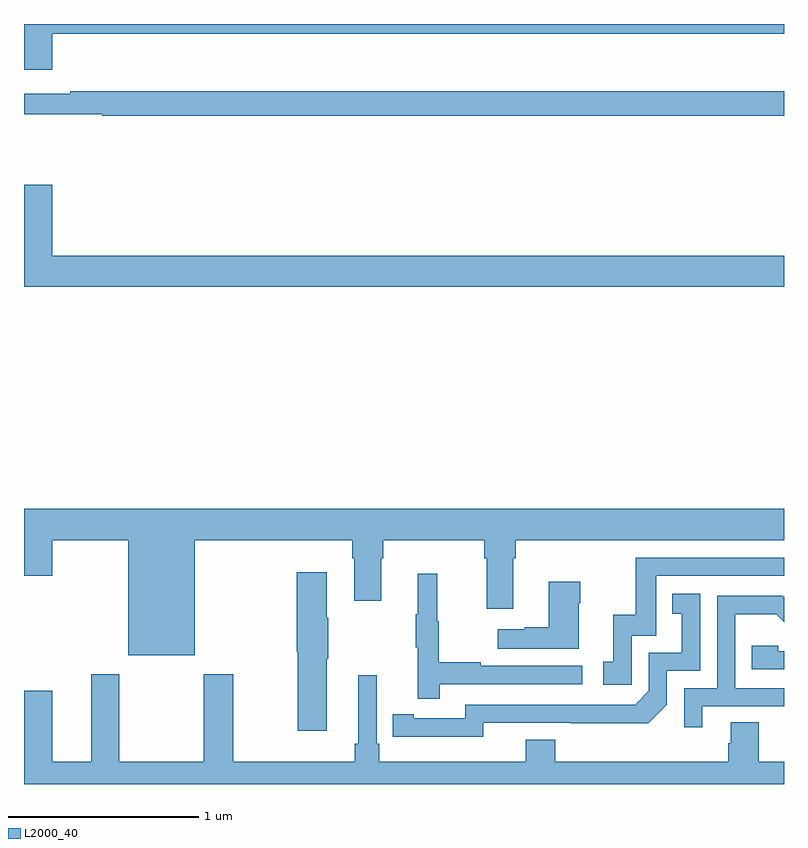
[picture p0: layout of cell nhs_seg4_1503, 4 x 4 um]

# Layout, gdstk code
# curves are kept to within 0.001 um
import gdstk
lib = gdstk.Library(unit=1e-6, precision=1e-09)
def P(c, l, *ps):  # polygons
    for p in ps: c.add(gdstk.Polygon(p, *l))
L2000_40 = (2000, 40)

nhs_seg4_1503 = lib.new_cell('nhs_seg4_1503')
P(nhs_seg4_1503, L2000_40, [(189.148,768.848),(193,768.848),(193,768.9),(189,768.9),(189,768.66),(189.148,768.66)],
  [(193,768.547),(189.244,768.547),(189.244,768.534),(189,768.534),(189,768.426),(189.412,768.426),(189.412,768.418),(193,768.418)],
  [(193,767.68),(189.148,767.68),(189.148,768.055),(189,768.055),(189,767.516),(193,767.516)],
  [(189.898,766.184),(190.727,766.184),(190.727,766.088),(190.739,766.088),(190.739,765.864),(190.879,765.864),(190.879,766.088),(190.892,766.088),(190.892,766.184),(191.423,766.184),(191.423,766.088),(191.435,766.088),(191.435,765.822),(191.575,765.822),(191.575,766.088),(191.588,766.088),(191.588,766.184),(193,766.184),(193,766.348),(189,766.348),(189,765.996),(189.148,765.996),(189.148,766.184),(189.548,766.184),(189.548,765.578),(189.898,765.578)],
  [(192.198,765.681),(192.327,765.681),(192.327,765.996),(193,765.996),(193,766.092),(192.219,766.092),(192.219,765.79),(192.101,765.79),(192.101,765.543),(192.048,765.543),(192.048,765.423),(192.198,765.423)],
  [(190.594,765.559),(190.602,765.559),(190.602,765.776),(190.594,765.776),(190.594,766.015),(190.436,766.015),(190.436,765.597),(190.441,765.597),(190.441,765.18),(190.594,765.18)],
  [(191.189,765.426),(191.938,765.426),(191.938,765.522),(191.405,765.522),(191.405,765.542),(191.182,765.542),(191.182,765.756),(191.174,765.756),(191.174,766.006),(191.072,766.006),(191.072,765.793),(191.061,765.793),(191.061,765.619),(191.072,765.619),(191.072,765.348),(191.189,765.348)],
  [(191.92,765.851),(191.928,765.851),(191.928,765.964),(191.762,765.964),(191.762,765.725),(191.636,765.725),(191.636,765.715),(191.493,765.715),(191.493,765.611),(191.92,765.611)],
  [(191.418,765.222),(192.286,765.221),(192.384,765.318),(192.384,765.495),(192.558,765.495),(192.558,765.901),(192.412,765.901),(192.412,765.795),(192.461,765.795),(192.461,765.591),(192.288,765.591),(192.288,765.39),(192.216,765.318),(191.322,765.318),(191.322,765.246),(191.05,765.246),(191.05,765.266),(190.942,765.266),(190.942,765.15),(191.418,765.149)],
  [(192.571,765.309),(193,765.309),(193,765.405),(192.744,765.405),(192.744,765.794),(192.958,765.794),(193,765.752),(193,765.885),(192.994,765.891),(192.648,765.891),(192.648,765.405),(192.474,765.405),(192.474,765.198),(192.571,765.198)],
  [(193,765.6),(192.969,765.6),(192.969,765.627),(192.829,765.627),(192.829,765.504),(193,765.504)],
  [(189.946,765.478),(189.946,765.016),(189.501,765.016),(189.501,765.478),(189.353,765.478),(189.353,765.016),(189.148,765.016),(189.148,765.391),(189,765.391),(189,764.9),(193,764.9),(193,765.016),(192.867,765.016),(192.867,765.224),(192.719,765.224),(192.719,765.114),(192.707,765.114),(192.707,765.016),(191.795,765.016),(191.795,765.133),(191.642,765.133),(191.642,765.016),(190.871,765.016),(190.871,765.112),(190.857,765.112),(190.857,765.472),(190.76,765.472),(190.76,765.112),(190.741,765.112),(190.741,765.016),(190.101,765.016),(190.101,765.478)])

lib.write_gds('nhs_seg4_1503.gds')
